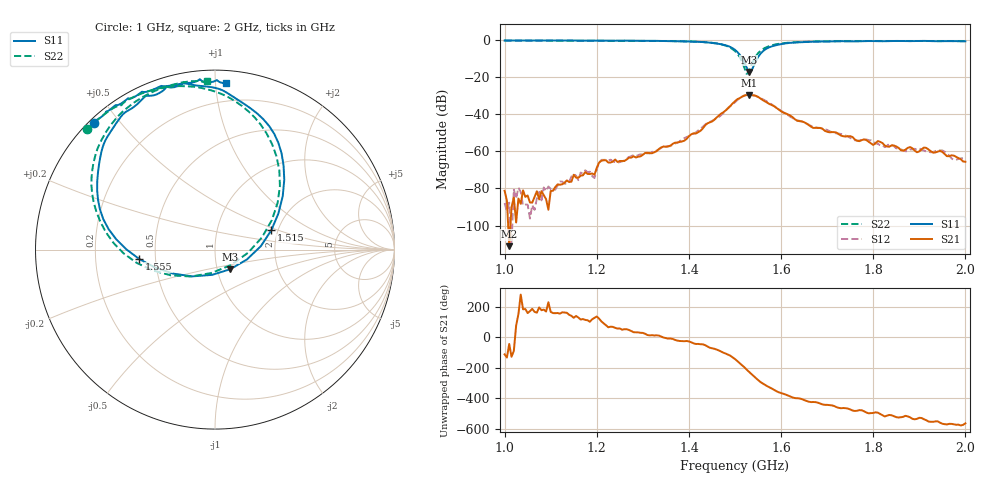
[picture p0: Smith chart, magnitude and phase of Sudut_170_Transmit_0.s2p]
# Hz S RI R 50
! CMT, C1220, 16058040, 17.2.0/1
! Date: 15/08/2018 09:04:58
! Data: Format (Calibration Info)
! Freq  S11: Re/Im (F2)  S21: Re/Im (F2)  S12: Re/Im (F2)  S22: Re/Im (F2)
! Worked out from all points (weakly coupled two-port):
!   201 points, 1 GHz to 2 GHz, reference 50 ohm
!   highest |S21| = -29.62 dB at 1.53 GHz (marker M1); lowest = -111.1 dB at 1.01 GHz (marker M2)
!   lowest |S11| = -17.2 dB at 1.53 GHz (marker M3), VSWR 1.32, Z = 57.8 - j12.9 ohm
!   |S11| at or under -10 dB: 1.516 GHz to 1.548 GHz (32.17 MHz wide, 2.1 % of centre)
!   |S22| runs from -18.2 to -0.2 dB; largest |S21 - S12| = 0.0014
!   S11 on the Smith chart (normalised r, x): 1 GHz: 0.02, +0.43; 1.515 GHz: 1.84, +0.45; 1.555 GHz: 0.40, -0.05; 2 GHz: 0.08, +1.07
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1e9  -0.6733 0.7043  -3.15e-05 -8.08e-05  -2.19e-05 -3.35e-05  -0.7118 0.6698
1.01e9  -0.6639 0.7165  2.03e-06 -1.9e-06  -3.82e-05 1.61e-05  -0.7044 0.6766
1.11e9  -0.5851 0.7796  -0.000102 3.95e-05  -9.28e-05 1.84e-06  -0.6218 0.749
1.17e9  -0.5159 0.8185  -0.000115 0.000195  -0.000138 0.00021  -0.5606 0.7918
1.185e9  -0.4902 0.8383  -5.36e-05 0.000239  -6.86e-05 0.000274  -0.5427 0.8002
1.195e9  -0.4828 0.8434  -0.000144 0.000184  -6.93e-05 0.000178  -0.5288 0.8044
1.21e9  -0.4777 0.8406  -0.000143 0.00054  -0.000146 0.000572  -0.5195 0.8061
1.245e9  -0.4143 0.8741  0.000276 0.000441  0.000291 0.000393  -0.481 0.8368
1.335e9  -0.2793 0.91  0.00114 0.000238  0.00112 0.000122  -0.3286 0.8941
1.39e9  -0.1282 0.9183  0.00176 -0.000819  0.00208 -0.000928  -0.187 0.911
1.45e9  0.1312 0.8321  0.00206 -0.00605  0.00165 -0.00641  0.087 0.8422
1.5e9  0.386 0.3891  -0.0177 -0.0139  -0.0167 -0.0129  0.3616 0.3547
1.515e9  0.3138 0.1075  -0.0296 0.000464  -0.0297 -0.000394  0.2617 0.0681
1.525e9  0.1772 -0.0555  -0.0286 0.0166  -0.029 0.0164  0.0876 -0.0868
1.53e9  0.0855 -0.1091  -0.0235 0.0232  -0.0239 0.0232  -0.0218 -0.1309
1.555e9  -0.4221 -0.0523  0.01 0.0249  0.00912 0.0259  -0.5082 -0.0217
1.59e9  -0.6566 0.3301  0.0148 0.00183  0.015 0.00144  -0.6886 0.3586
1.67e9  -0.514 0.7528  0.0019 -0.00384  0.00203 -0.00407  -0.553 0.728
1.835e9  -0.189 0.9209  -0.00114 -0.0007  -0.00139 -0.000805  -0.2772 0.9062
1.895e9  -0.0952 0.9417  -0.000943 -0.0001  -0.0011 -0.00016  -0.1876 0.9304
1.915e9  -0.0829 0.9479  -0.00124 6.16e-05  -0.00098 9.85e-05  -0.1577 0.9347
2e9  0.0639 0.9261  -0.000481 0.000211  -0.000556 0.000296  -0.042 0.9409
